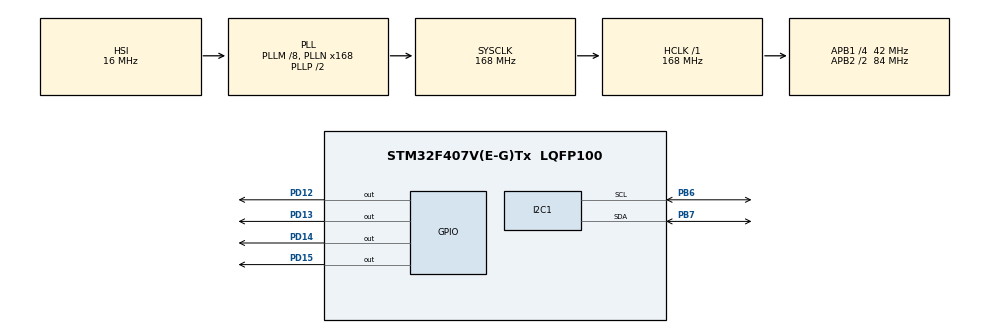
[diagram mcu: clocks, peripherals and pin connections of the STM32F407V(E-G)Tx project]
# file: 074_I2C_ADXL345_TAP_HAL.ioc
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I2C1.I2C_Mode=I2C_Fast
Mcu.Family=STM32F4
Mcu.Name=STM32F407V(E-G)Tx
Mcu.Package=LQFP100
NVIC.PriorityGroup=NVIC_PRIORITYGROUP_0
PB6.Mode=I2C
PB6.Signal=I2C1_SCL
PB7.Mode=I2C
PB7.Signal=I2C1_SDA
PD12.Signal=GPIO_Output
PD13.Signal=GPIO_Output
PD14.Signal=GPIO_Output
PD15.Signal=GPIO_Output
PH0-OSC_IN.Mode=HSE-External-Oscillator
PH0-OSC_IN.Signal=RCC_OSC_IN
PH1-OSC_OUT.Mode=HSE-External-Oscillator
PH1-OSC_OUT.Signal=RCC_OSC_OUT
ProjectManager.HeapSize=0x200
ProjectManager.StackSize=0x400
ProjectManager.TargetToolchain=STM32CubeIDE
RCC.48MHZClocksFreq_Value=48000000
RCC.AHBFreq_Value=168000000
RCC.APB1CLKDivider=RCC_HCLK_DIV4
RCC.APB1Freq_Value=42000000
RCC.APB1TimFreq_Value=84000000
RCC.APB2CLKDivider=RCC_HCLK_DIV2
RCC.APB2Freq_Value=84000000
RCC.APB2TimFreq_Value=168000000
RCC.CortexFreq_Value=168000000
RCC.HCLKFreq_Value=168000000
RCC.HSE_VALUE=8000000
RCC.HSI_VALUE=16000000
RCC.LSE_VALUE=32768
RCC.PLLM=8
RCC.PLLN=168
RCC.PLLQ=7
RCC.SYSCLKFreq_VALUE=168000000
RCC.SYSCLKSource=RCC_SYSCLKSOURCE_PLLCLK
RCC.VCOOutputFreq_Value=336000000
board=STM32F407G-DISC1

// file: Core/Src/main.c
/* USER CODE BEGIN Header */
/**
  ******************************************************************************
  * @file           : main.c
  * @brief          : Main program body
  ******************************************************************************
  * @attention
  *
  * Copyright (c) 2024 STMicroelectronics.
  * All rights reserved.
  *
  * This software is licensed under terms that can be found in the LICENSE file
  * in the root directory of this software component.
  * If no LICENSE file comes with this software, it is provided AS-IS.
  *
  ******************************************************************************
  */
/* USER CODE END Header */
#include "main.h"

I2C_HandleTypeDef hi2c1;

void SystemClock_Config(void);
static void MX_GPIO_Init(void);
static void MX_I2C1_Init(void);
/* USER CODE BEGIN PFP */

#define ADXL345_SLAVE_I2C_ADDRESS 0xa6

uint8_t myDatas[8];

uint8_t status;
uint8_t data_rec;

void Scan_I2C_Address();

void ADXL345_Init();
uint8_t ADXL345_Read(uint8_t rRegister, uint8_t numberOfByte);
void ADXL345_Write(uint8_t wRegister, uint8_t value);

/* USER CODE END PFP */

/* USER CODE BEGIN 0 */
void Scan_I2C_Address()
{
	for(uint8_t i=0;i<=0xff;i++)
	{
		if(HAL_I2C_IsDeviceReady(&hi2c1, i, 1, 10) == HAL_OK)
			break;
	}
}

uint8_t ADXL345_Read(uint8_t rRegister, uint8_t numberOfByte)
{
	HAL_I2C_Mem_Read(&hi2c1, ADXL345_SLAVE_I2C_ADDRESS, rRegister, 1, &data_rec, numberOfByte, 100);
	return data_rec;
}

void ADXL345_Write(uint8_t wRegister, uint8_t value)
{
	uint8_t datas[2] = {0};
	datas[0] = wRegister;
	datas[1] = value;

	HAL_I2C_Master_Transmit(&hi2c1, ADXL345_SLAVE_I2C_ADDRESS, datas, 2, 10);
}

void ADXL345_Init()
{
	ADXL345_Write(0x2d, 0x00);  //This reset the power bits.

	//Setup ->
	ADXL345_Write(0x2d, 0x08);  //Our settings. Measure bit is 1. Others are 0.

	ADXL345_Write(0x2a, 0x01);  //Enabled to zTAP.

	//-> 62.5 mg/LSB, 40 * .0625 = 2.5g (it will detect 2.5g pressure)
	ADXL345_Write(0x1d, 40);

	//Press Time: 625us/LSB, 32 * 625us/LSB = 0.02s
	ADXL345_Write(0x21, 32);

	//The time between the two pressing: 1.25ms/LSB * 80 = 0.01s
	ADXL345_Write(0x22, 80);

	// Dokunma penceresi, WINDIW register'a 240 yazarak 0.3sn'ye ayarlıyorum. (.3 / .00125) Bu değer ikinci bir basmanın olabileceği, gecikme
	// süresinin sona ermesinden sonra geçen süreyi temsil eder.
	ADXL345_Write(0x23, 240);

	//Write it for we can use the pin IN1.
	ADXL345_Write(0x2f, 0x00);

	//For we can use Single and double taps.
	ADXL345_Write(0x2e, 0x60);

}
/* USER CODE END 0 */

int main(void)
{

  /* MCU Configuration--------------------------------------------------------*/

  /* Reset of all peripherals, Initializes the Flash interface and the Systick. */
  HAL_Init();

  /* Configure the system clock */
  SystemClock_Config();

  /* Initialize all configured peripherals */
  MX_GPIO_Init();
  MX_I2C1_Init();
  /* USER CODE BEGIN 2 */

  ADXL345_Init();

  /* USER CODE END 2 */

  /* Infinite loop */
  while (1)
  {

    /* USER CODE BEGIN 3 */
	  status = ADXL345_Read(0x30, 1);	// interrupt source register(0x30)

	  if((status >> 5) & 0x01)
	  {
		  // Double tap
		  HAL_GPIO_TogglePin(GPIOD, GPIO_PIN_13 | GPIO_PIN_15);
	  }
	  else if((status >> 6) & 0x01)
	  {
		  // Single tap
		  HAL_GPIO_TogglePin(GPIOD, GPIO_PIN_12 | GPIO_PIN_14);
	  }
  }
  /* USER CODE END 3 */
}

void SystemClock_Config(void)
{
  RCC_OscInitTypeDef RCC_OscInitStruct = {0};
  RCC_ClkInitTypeDef RCC_ClkInitStruct = {0};

  /** Configure the main internal regulator output voltage
  */
  __HAL_RCC_PWR_CLK_ENABLE();
  __HAL_PWR_VOLTAGESCALING_CONFIG(PWR_REGULATOR_VOLTAGE_SCALE1);

  /** Initializes the RCC Oscillators according to the specified parameters
  * in the RCC_OscInitTypeDef structure.
  */
  RCC_OscInitStruct.OscillatorType = RCC_OSCILLATORTYPE_HSI;
  RCC_OscInitStruct.HSIState = RCC_HSI_ON;
  RCC_OscInitStruct.HSICalibrationValue = RCC_HSICALIBRATION_DEFAULT;
  RCC_OscInitStruct.PLL.PLLState = RCC_PLL_ON;
  RCC_OscInitStruct.PLL.PLLSource = RCC_PLLSOURCE_HSI;
  RCC_OscInitStruct.PLL.PLLM = 8;
  RCC_OscInitStruct.PLL.PLLN = 168;
  RCC_OscInitStruct.PLL.PLLP = RCC_PLLP_DIV2;
  RCC_OscInitStruct.PLL.PLLQ = 7;
  if (HAL_RCC_OscConfig(&RCC_OscInitStruct) != HAL_OK)
  {
    Error_Handler();
  }

  /** Initializes the CPU, AHB and APB buses clocks
  */
  RCC_ClkInitStruct.ClockType = RCC_CLOCKTYPE_HCLK|RCC_CLOCKTYPE_SYSCLK
                              |RCC_CLOCKTYPE_PCLK1|RCC_CLOCKTYPE_PCLK2;
  RCC_ClkInitStruct.SYSCLKSource = RCC_SYSCLKSOURCE_PLLCLK;
  RCC_ClkInitStruct.AHBCLKDivider = RCC_SYSCLK_DIV1;
  RCC_ClkInitStruct.APB1CLKDivider = RCC_HCLK_DIV4;
  RCC_ClkInitStruct.APB2CLKDivider = RCC_HCLK_DIV2;

  if (HAL_RCC_ClockConfig(&RCC_ClkInitStruct, FLASH_LATENCY_5) != HAL_OK)
  {
    Error_Handler();
  }
}

static void MX_I2C1_Init(void)
{

  hi2c1.Instance = I2C1;
  hi2c1.Init.ClockSpeed = 400000;
  hi2c1.Init.DutyCycle = I2C_DUTYCYCLE_2;
  hi2c1.Init.OwnAddress1 = 0;
  hi2c1.Init.AddressingMode = I2C_ADDRESSINGMODE_7BIT;
  hi2c1.Init.DualAddressMode = I2C_DUALADDRESS_DISABLE;
  hi2c1.Init.OwnAddress2 = 0;
  hi2c1.Init.GeneralCallMode = I2C_GENERALCALL_DISABLE;
  hi2c1.Init.NoStretchMode = I2C_NOSTRETCH_DISABLE;
  if (HAL_I2C_Init(&hi2c1) != HAL_OK)
  {
    Error_Handler();
  }

}

static void MX_GPIO_Init(void)
{
  GPIO_InitTypeDef GPIO_InitStruct = {0};

  /* GPIO Ports Clock Enable */
  __HAL_RCC_GPIOH_CLK_ENABLE();
  __HAL_RCC_GPIOD_CLK_ENABLE();
  __HAL_RCC_GPIOB_CLK_ENABLE();

  /*Configure GPIO pin Output Level */
  HAL_GPIO_WritePin(GPIOD, GPIO_PIN_12|GPIO_PIN_13|GPIO_PIN_14|GPIO_PIN_15, GPIO_PIN_RESET);

  /*Configure GPIO pins : PD12 PD13 PD14 PD15 */
  GPIO_InitStruct.Pin = GPIO_PIN_12|GPIO_PIN_13|GPIO_PIN_14|GPIO_PIN_15;
  GPIO_InitStruct.Mode = GPIO_MODE_OUTPUT_PP;
  GPIO_InitStruct.Pull = GPIO_NOPULL;
  GPIO_InitStruct.Speed = GPIO_SPEED_FREQ_LOW;
  HAL_GPIO_Init(GPIOD, &GPIO_InitStruct);

}

void Error_Handler(void)
{
  __disable_irq();
  while (1)
  {
  }
}
